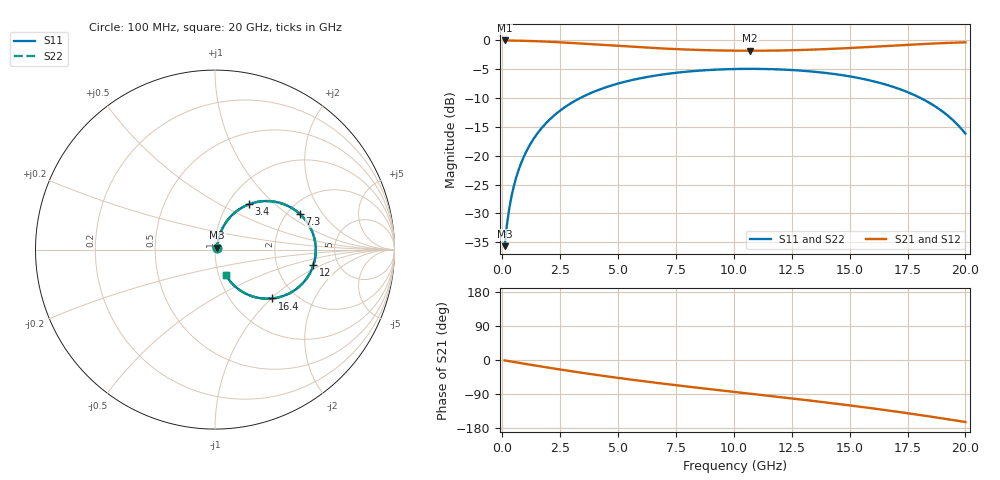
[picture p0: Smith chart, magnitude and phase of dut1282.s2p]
! Touchstone file exported from HFSS 2026.1.0
!  File:  C:/ffzhzh/LocalFiles/Ansys_Project_Files/temp_train_TSV_RDL_1282_1783330517_30076.aedt
!  Generated:  05:46:07 PM Jul  6, 2026
!  Design:  TSV_RDL
!  Project:  temp_train_TSV_RDL_1282_1783330517_30076
! Variables:
!  h_bsmrdl = 5.47um
!  h_ox = 20um
!  h_rdl = 5um
!  h_sub = 54.48um
!  h_tmrdl = 3.76um
!  h_tsv = 54.48um
!  h_via = 3um
!  l_bsmrdl = 623.8um
!  l_sub = 3004.99um
!  l_tmrdl = 153.3um
!  m_sub = 200um
!  pitch = 46.7um
!  r_tsv = 4.66um
!  s_tmrdl = 10um
!  w_bsmrdl = 18.39um
!  w_sub = 500um
!  w_tmrdl = 21.74um
!  x_tsv_center1 = 164.17um
!  x_tsv_center2 = 806.36um
!  x_tsv_center3 = 981.4um
!  x_tsv_center4 = 1623.59um
!  x_tsv_center5 = 1798.63um
!  x_tsv_center6 = 2440.82um
# GHz S MA R 50.000000
! Terminal data exported
! Port[1] = TM_RDL1_1_T1
! Port[2] = TM_RDL5_1_T1
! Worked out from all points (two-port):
!   200 points, 100 MHz to 20 GHz, reference 50 ohm
!   highest |S21| = -0.11 dB at 100 MHz (marker M1); lowest = -1.9 dB at 10.7 GHz (marker M2)
!   |S21| within 3 dB of the highest: start of sweep to end of sweep
!   lowest |S11| = -35.6 dB at 100 MHz (marker M3), VSWR 1.03, Z = 51.2 + j1.11 ohm
!   |S11| at or under -10 dB: start of sweep to 3.391 GHz; 18.04 GHz to end of sweep
!   |S22| runs from -35.6 to -5.0 dB; largest |S21 - S12| = 9.4e-14
!   S11 on the Smith chart (normalised r, x): 100 MHz: 1.02, +0.02; 3.4 GHz: 1.25, +0.70; 7.3 GHz: 2.33, +1.25; 12 GHz: 3.26, -0.83; 16.4 GHz: 1.53, -1.01; 20 GHz: 1.08, -0.32
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0.1  0.0165 41.1  0.9877 -1.1  0.9877 -1.1  0.0165 41.1
! Gamma 0 0 0 0
! Port Impedance 50 0 50 0
0.2  0.02526 57.7  0.9871 -2.1  0.9871 -2.1  0.02526 57.7
0.3  0.03489 64.7  0.9863 -3.2  0.9863 -3.2  0.03489 64.7
0.5  0.05468 70.3  0.9848 -5.2  0.9848 -5.2  0.05468 70.3
0.8  0.08475 72.0  0.982 -8.3  0.982 -8.3  0.08475 72.0
1.1  0.1147 71.3  0.9785 -11.3  0.9785 -11.3  0.1147 71.3
1.6  0.1634 68.1  0.9707 -16.3  0.9707 -16.3  0.1634 68.1
2.1  0.2098 64.1  0.9608 -21.3  0.9608 -21.3  0.2098 64.1
3.4  0.3169 53.0  0.9288 -33.5  0.9288 -33.5  0.3169 53.0
3.5  0.3242 52.1  0.9261 -34.4  0.9261 -34.4  0.3242 52.1
5  0.4191 39.8  0.8859 -47.3  0.8859 -47.3  0.4191 39.8
6.8  0.4978 26.2  0.8443 -61.4  0.8443 -61.4  0.4977 26.2
7.3  0.5135 22.6  0.835 -65.1  0.835 -65.1  0.5135 22.6
10.1  0.5601 3.5  0.8057 -84.8  0.8057 -84.8  0.5601 3.5
10.7  0.5616 -0.4  0.8047 -88.9  0.8047 -88.9  0.5615 -0.4
12  0.5549 -9.1  0.809 -97.9  0.809 -97.9  0.5549 -9.1
13.4  0.5319 -18.6  0.8231 -107.8  0.8231 -107.8  0.5319 -18.6
16.4  0.4196 -40.4  0.88 -131.0  0.88 -131.0  0.4195 -40.4
16.7  0.403 -42.7  0.8869 -133.5  0.8869 -133.5  0.4029 -42.8
18.6  0.2738 -57.7  0.9291 -150.3  0.9291 -150.3  0.2737 -57.7
19.4  0.2078 -63.5  0.9435 -157.9  0.9435 -157.9  0.2078 -63.6
20  0.1549 -67.1  0.9517 -163.7  0.9517 -163.7  0.1548 -67.1
